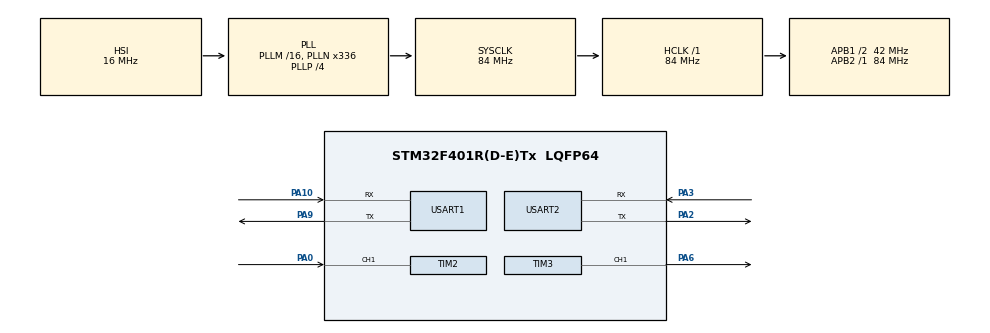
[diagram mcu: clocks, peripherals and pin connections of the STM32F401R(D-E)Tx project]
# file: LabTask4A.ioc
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Mcu.Family=STM32F4
Mcu.Name=STM32F401R(D-E)Tx
Mcu.Package=LQFP64
NVIC.PriorityGroup=NVIC_PRIORITYGROUP_4
NVIC.TIM2_IRQn=true\:0\:0\:false\:false\:true\:true\:true\:true
NVIC.TIM3_IRQn=true\:0\:0\:false\:false\:true\:true\:true\:true
NVIC.USART1_IRQn=true\:0\:0\:false\:false\:true\:true\:true\:true
NVIC.USART2_IRQn=true\:0\:0\:false\:false\:true\:true\:true\:true
PA0-WKUP.Signal=S_TIM2_CH1_ETR
PA10.Mode=Asynchronous
PA10.Signal=USART1_RX
PA2.Mode=Asynchronous
PA2.Signal=USART2_TX
PA3.Mode=Asynchronous
PA3.Signal=USART2_RX
PA6.Signal=S_TIM3_CH1
PA9.Mode=Asynchronous
PA9.Signal=USART1_TX
ProjectManager.HeapSize=0x200
ProjectManager.StackSize=0x400
ProjectManager.TargetToolchain=STM32CubeIDE
RCC.48MHZClocksFreq_Value=84000000
RCC.AHBFreq_Value=84000000
RCC.APB1CLKDivider=RCC_HCLK_DIV2
RCC.APB1Freq_Value=42000000
RCC.APB1TimFreq_Value=84000000
RCC.APB2Freq_Value=84000000
RCC.APB2TimFreq_Value=84000000
RCC.CortexFreq_Value=84000000
RCC.HCLKFreq_Value=84000000
RCC.HSE_VALUE=25000000
RCC.HSI_VALUE=16000000
RCC.LSE_VALUE=32768
RCC.PLLN=336
RCC.PLLP=RCC_PLLP_DIV4
RCC.SYSCLKFreq_VALUE=84000000
RCC.SYSCLKSource=RCC_SYSCLKSOURCE_PLLCLK
RCC.VCOOutputFreq_Value=336000000
SH.S_TIM2_CH1_ETR.0=TIM2_CH1,Input_Capture1_from_TI1
SH.S_TIM3_CH1.0=TIM3_CH1,PWM Generation1 CH1
TIM2.Channel-Input_Capture1_from_TI1=TIM_CHANNEL_1
TIM2.Prescaler=83
TIM3.Channel-PWM\ Generation1\ CH1=TIM_CHANNEL_1
TIM3.Period=19999
TIM3.Prescaler=83
TIM3.Pulse-PWM\ Generation1\ CH1=1000
USART1.VirtualMode=VM_ASYNC
USART2.VirtualMode=VM_ASYNC
VP_TIM2_VS_ClockSourceINT.Mode=Internal
board=custom

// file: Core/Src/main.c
/* USER CODE BEGIN Header */
/**
  ******************************************************************************
  * @file           : main.c
  * @brief          : Main program body
  ******************************************************************************
  * @attention
  *
  * Copyright (c) 2026 STMicroelectronics.
  * All rights reserved.
  *
  * This software is licensed under terms that can be found in the LICENSE file
  * in the root directory of this software component.
  * If no LICENSE file comes with this software, it is provided AS-IS.
  *
  ******************************************************************************
  */
/* USER CODE END Header */
#include "main.h"
#include <stdio.h>

TIM_HandleTypeDef htim2;
TIM_HandleTypeDef htim3;

UART_HandleTypeDef huart1;
UART_HandleTypeDef huart2;

/* USER CODE BEGIN PV */
volatile uint32_t capture_rising = 0;
volatile uint32_t capture_falling = 0;
volatile uint32_t measured_pulse_us = 0;

volatile uint8_t capture_state = 0;

/* USER CODE END PV */

void SystemClock_Config(void);
static void MX_GPIO_Init(void);
static void MX_USART1_UART_Init(void);
static void MX_TIM2_Init(void);
static void MX_TIM3_Init(void);
static void MX_USART2_UART_Init(void);

/* USER CODE BEGIN 0 */

uint16_t CRC16_MODBUS(uint8_t *data, uint16_t length)
{
    uint16_t crc = 0xFFFF;

    for (uint16_t i = 0; i < length; i++)
    {
        crc ^= data[i];

        for (uint8_t bit = 0; bit < 8; bit++)
        {
            if (crc & 1)
                crc = (crc >> 1) ^ 0xA001;
            else
                crc >>= 1;
        }
    }

    return crc;
}

void SendTelemetry(void)
{
    static uint8_t telemetry_count = 0;

    uint16_t pulse_us = (uint16_t)measured_pulse_us;
    uint8_t frame[8];

    frame[0] = 0xA5;
    frame[1] = 0x04;
    frame[2] = 0x82;
    frame[3] = telemetry_count++;
    frame[4] = pulse_us & 0xFF;
    frame[5] = (pulse_us >> 8) & 0xFF;

    uint16_t crc = CRC16_MODBUS(&frame[1], 5);

    frame[6] = crc & 0xFF;
    frame[7] = (crc >> 8) & 0xFF;

    HAL_UART_Transmit(&huart1, frame, sizeof(frame), 100);
}

void SendAck(uint8_t seq, uint8_t status)
{
    uint8_t frame[7];

    frame[0] = 0xA5;     // Start byte
    frame[1] = 0x03;     // Payload length
    frame[2] = 0x81;     // ACK message type
    frame[3] = seq;      // Echo command sequence
    frame[4] = status;   // 0x00 = OK, 0x01 = invalid pulse

    // CRC covers length + 3 payload bytes
    uint16_t crc = CRC16_MODBUS(&frame[1], 4);

    frame[5] = crc & 0xFF;        // CRC low byte
    frame[6] = (crc >> 8) & 0xFF; // CRC high byte

    HAL_UART_Transmit(&huart1, frame, 7, 100);
}

void ReceiveAndProcessFrame(void)
{
    uint8_t start;
    uint8_t length;
    uint8_t payload[16];
    uint8_t crc_bytes[2];

    // 1. Wait for the start byte
    if (HAL_UART_Receive(&huart1, &start, 1, 100) != HAL_OK)
        return;

    if (start != 0xA5)
        return;

    // 2. Read payload length
    if (HAL_UART_Receive(&huart1, &length, 1, 100) != HAL_OK)
        return;

    // Prevent reading beyond our buffer
    if (length == 0 || length > sizeof(payload))
        return;

    // 3. Read the payload
    if (HAL_UART_Receive(&huart1, payload, length, 100) != HAL_OK)
        return;

    // 4. Read CRC, low byte first
    if (HAL_UART_Receive(&huart1, crc_bytes, 2, 100) != HAL_OK)
        return;

    uint16_t received_crc =
        (uint16_t)crc_bytes[0] |
        ((uint16_t)crc_bytes[1] << 8);

    // CRC covers LENGTH + PAYLOAD
    uint8_t crc_data[17];
    crc_data[0] = length;

    for (uint8_t i = 0; i < length; i++)
        crc_data[i + 1] = payload[i];

    uint16_t calculated_crc =
        CRC16_MODBUS(crc_data, length + 1);

    // 5. Validate CRC
    if (received_crc != calculated_crc)
    {
        printf("Invalid CRC\r\n");
        return;
    }

    // 6. Process SET_PULSE (type 0x01)
    if (length == 4 && payload[0] == 0x01)
    {
        uint8_t seq = payload[1];

        uint16_t pulse_us =
            (uint16_t)payload[2] |
            ((uint16_t)payload[3] << 8);

        // Accept only the permitted pulse-width range
        if (pulse_us >= 1000 && pulse_us <= 2000)
        {
            __HAL_TIM_SET_COMPARE(
                &htim3, TIM_CHANNEL_1, pulse_us);

            SendAck(seq, 0x00);
        }
        else
        {
            SendAck(seq, 0x01);
        }
    }
}

/* USER CODE END 0 */

int main(void)
{

  /* MCU Configuration--------------------------------------------------------*/

  /* Reset of all peripherals, Initializes the Flash interface and the Systick. */
  HAL_Init();

  /* Configure the system clock */
  SystemClock_Config();

  /* Initialize all configured peripherals */
  MX_GPIO_Init();
  MX_USART1_UART_Init();
  MX_TIM2_Init();
  MX_TIM3_Init();
  MX_USART2_UART_Init();
  /* USER CODE BEGIN 2 */

  __HAL_TIM_SET_COMPARE(&htim3, TIM_CHANNEL_1, 1500);

  HAL_TIM_PWM_Start(&htim3, TIM_CHANNEL_1);

  HAL_TIM_IC_Start_IT(&htim2, TIM_CHANNEL_1);

  static uint32_t last_telemetry_ms = 0;

  /* USER CODE END 2 */

  /* Infinite loop */
  while (1)
  {
	 ReceiveAndProcessFrame();

	    if (HAL_GetTick() - last_telemetry_ms >= 20)
	    {
	        last_telemetry_ms = HAL_GetTick();
	        SendTelemetry();
	    }
  }
}

void SystemClock_Config(void)
{
  RCC_OscInitTypeDef RCC_OscInitStruct = {0};
  RCC_ClkInitTypeDef RCC_ClkInitStruct = {0};

  /** Configure the main internal regulator output voltage
  */
  __HAL_RCC_PWR_CLK_ENABLE();
  __HAL_PWR_VOLTAGESCALING_CONFIG(PWR_REGULATOR_VOLTAGE_SCALE2);

  /** Initializes the RCC Oscillators according to the specified parameters
  * in the RCC_OscInitTypeDef structure.
  */
  RCC_OscInitStruct.OscillatorType = RCC_OSCILLATORTYPE_HSI;
  RCC_OscInitStruct.HSIState = RCC_HSI_ON;
  RCC_OscInitStruct.HSICalibrationValue = RCC_HSICALIBRATION_DEFAULT;
  RCC_OscInitStruct.PLL.PLLState = RCC_PLL_ON;
  RCC_OscInitStruct.PLL.PLLSource = RCC_PLLSOURCE_HSI;
  RCC_OscInitStruct.PLL.PLLM = 16;
  RCC_OscInitStruct.PLL.PLLN = 336;
  RCC_OscInitStruct.PLL.PLLP = RCC_PLLP_DIV4;
  RCC_OscInitStruct.PLL.PLLQ = 4;
  if (HAL_RCC_OscConfig(&RCC_OscInitStruct) != HAL_OK)
  {
    Error_Handler();
  }

  /** Initializes the CPU, AHB and APB buses clocks
  */
  RCC_ClkInitStruct.ClockType = RCC_CLOCKTYPE_HCLK|RCC_CLOCKTYPE_SYSCLK
                              |RCC_CLOCKTYPE_PCLK1|RCC_CLOCKTYPE_PCLK2;
  RCC_ClkInitStruct.SYSCLKSource = RCC_SYSCLKSOURCE_PLLCLK;
  RCC_ClkInitStruct.AHBCLKDivider = RCC_SYSCLK_DIV1;
  RCC_ClkInitStruct.APB1CLKDivider = RCC_HCLK_DIV2;
  RCC_ClkInitStruct.APB2CLKDivider = RCC_HCLK_DIV1;

  if (HAL_RCC_ClockConfig(&RCC_ClkInitStruct, FLASH_LATENCY_2) != HAL_OK)
  {
    Error_Handler();
  }
}

static void MX_TIM2_Init(void)
{

  TIM_ClockConfigTypeDef sClockSourceConfig = {0};
  TIM_MasterConfigTypeDef sMasterConfig = {0};
  TIM_IC_InitTypeDef sConfigIC = {0};

  htim2.Instance = TIM2;
  htim2.Init.Prescaler = 83;
  htim2.Init.CounterMode = TIM_COUNTERMODE_UP;
  htim2.Init.Period = 4294967295;
  htim2.Init.ClockDivision = TIM_CLOCKDIVISION_DIV1;
  htim2.Init.AutoReloadPreload = TIM_AUTORELOAD_PRELOAD_DISABLE;
  if (HAL_TIM_Base_Init(&htim2) != HAL_OK)
  {
    Error_Handler();
  }
  sClockSourceConfig.ClockSource = TIM_CLOCKSOURCE_INTERNAL;
  if (HAL_TIM_ConfigClockSource(&htim2, &sClockSourceConfig) != HAL_OK)
  {
    Error_Handler();
  }
  if (HAL_TIM_IC_Init(&htim2) != HAL_OK)
  {
    Error_Handler();
  }
  sMasterConfig.MasterOutputTrigger = TIM_TRGO_RESET;
  sMasterConfig.MasterSlaveMode = TIM_MASTERSLAVEMODE_DISABLE;
  if (HAL_TIMEx_MasterConfigSynchronization(&htim2, &sMasterConfig) != HAL_OK)
  {
    Error_Handler();
  }
  sConfigIC.ICPolarity = TIM_INPUTCHANNELPOLARITY_RISING;
  sConfigIC.ICSelection = TIM_ICSELECTION_DIRECTTI;
  sConfigIC.ICPrescaler = TIM_ICPSC_DIV1;
  sConfigIC.ICFilter = 0;
  if (HAL_TIM_IC_ConfigChannel(&htim2, &sConfigIC, TIM_CHANNEL_1) != HAL_OK)
  {
    Error_Handler();
  }

}

static void MX_TIM3_Init(void)
{

  TIM_MasterConfigTypeDef sMasterConfig = {0};
  TIM_OC_InitTypeDef sConfigOC = {0};

  htim3.Instance = TIM3;
  htim3.Init.Prescaler = 83;
  htim3.Init.CounterMode = TIM_COUNTERMODE_UP;
  htim3.Init.Period = 19999;
  htim3.Init.ClockDivision = TIM_CLOCKDIVISION_DIV1;
  htim3.Init.AutoReloadPreload = TIM_AUTORELOAD_PRELOAD_DISABLE;
  if (HAL_TIM_PWM_Init(&htim3) != HAL_OK)
  {
    Error_Handler();
  }
  sMasterConfig.MasterOutputTrigger = TIM_TRGO_RESET;
  sMasterConfig.MasterSlaveMode = TIM_MASTERSLAVEMODE_DISABLE;
  if (HAL_TIMEx_MasterConfigSynchronization(&htim3, &sMasterConfig) != HAL_OK)
  {
    Error_Handler();
  }
  sConfigOC.OCMode = TIM_OCMODE_PWM1;
  sConfigOC.Pulse = 1000;
  sConfigOC.OCPolarity = TIM_OCPOLARITY_HIGH;
  sConfigOC.OCFastMode = TIM_OCFAST_DISABLE;
  if (HAL_TIM_PWM_ConfigChannel(&htim3, &sConfigOC, TIM_CHANNEL_1) != HAL_OK)
  {
    Error_Handler();
  }
  HAL_TIM_MspPostInit(&htim3);

}

static void MX_USART1_UART_Init(void)
{

  huart1.Instance = USART1;
  huart1.Init.BaudRate = 115200;
  huart1.Init.WordLength = UART_WORDLENGTH_8B;
  huart1.Init.StopBits = UART_STOPBITS_1;
  huart1.Init.Parity = UART_PARITY_NONE;
  huart1.Init.Mode = UART_MODE_TX_RX;
  huart1.Init.HwFlowCtl = UART_HWCONTROL_NONE;
  huart1.Init.OverSampling = UART_OVERSAMPLING_16;
  if (HAL_UART_Init(&huart1) != HAL_OK)
  {
    Error_Handler();
  }

}

static void MX_USART2_UART_Init(void)
{

  huart2.Instance = USART2;
  huart2.Init.BaudRate = 115200;
  huart2.Init.WordLength = UART_WORDLENGTH_8B;
  huart2.Init.StopBits = UART_STOPBITS_1;
  huart2.Init.Parity = UART_PARITY_NONE;
  huart2.Init.Mode = UART_MODE_TX_RX;
  huart2.Init.HwFlowCtl = UART_HWCONTROL_NONE;
  huart2.Init.OverSampling = UART_OVERSAMPLING_16;
  if (HAL_UART_Init(&huart2) != HAL_OK)
  {
    Error_Handler();
  }

}

static void MX_GPIO_Init(void)
{

  /* GPIO Ports Clock Enable */
  __HAL_RCC_GPIOA_CLK_ENABLE();

}

/* USER CODE BEGIN 4 */
int __io_putchar(int ch)
{
    HAL_UART_Transmit(&huart2, (uint8_t *)&ch, 1, HAL_MAX_DELAY);
    return ch;
}

void HAL_TIM_IC_CaptureCallback(TIM_HandleTypeDef *htim)
{
    if (htim->Instance != TIM2 ||
        htim->Channel != HAL_TIM_ACTIVE_CHANNEL_1)
        return;

    if (capture_state == 0)
    {
        // Rising edge
        capture_rising =
            HAL_TIM_ReadCapturedValue(htim, TIM_CHANNEL_1);

        capture_state = 1;

        TIM2->CCER |= TIM_CCER_CC1P;  // Capture falling edge
    }
    else
    {
        // Falling edge
        capture_falling =
            HAL_TIM_ReadCapturedValue(htim, TIM_CHANNEL_1);

        measured_pulse_us = capture_falling - capture_rising;
        printf("Measured pulse: %lu us\r\n",
               (unsigned long)measured_pulse_us);

        capture_state = 0;

        TIM2->CCER &= ~TIM_CCER_CC1P; // Capture rising edge
    }
}

/* USER CODE END 4 */

void Error_Handler(void)
{
  __disable_irq();
  while (1)
  {
  }
}
